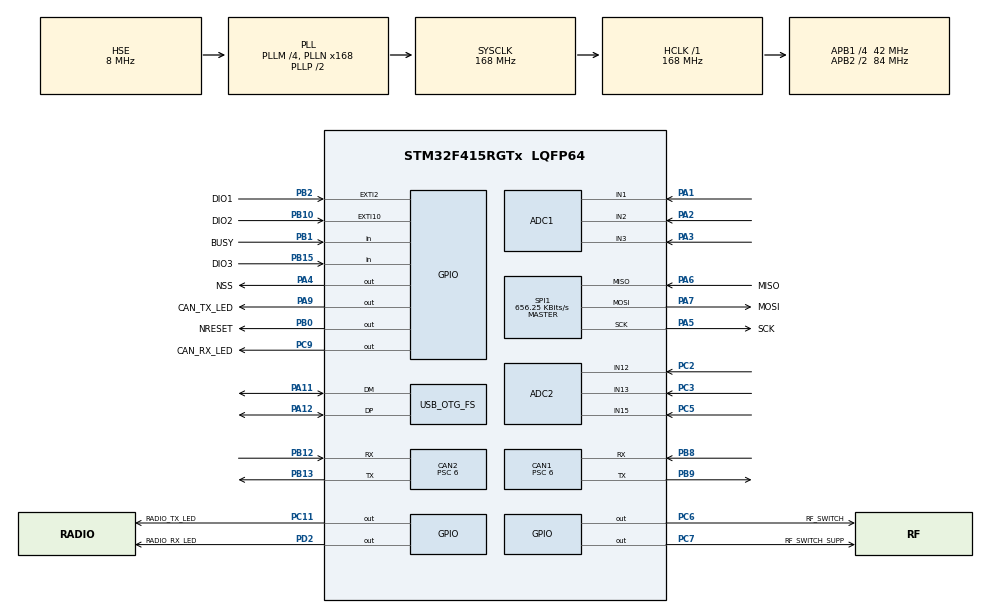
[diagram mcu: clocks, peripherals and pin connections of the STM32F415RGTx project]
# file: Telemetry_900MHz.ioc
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ADC1.Channel-0\#ChannelRegularConversion=ADC_CHANNEL_1
ADC1.Channel-1\#ChannelRegularConversion=ADC_CHANNEL_2
ADC1.Channel-2\#ChannelRegularConversion=ADC_CHANNEL_3
ADC1.ContinuousConvMode=ENABLE
ADC1.DMAContinuousRequests=ENABLE
ADC1.NbrOfConversion=3
ADC1.NbrOfConversionFlag=1
ADC1.Rank-0\#ChannelRegularConversion=1
ADC1.Rank-1\#ChannelRegularConversion=2
ADC1.Rank-2\#ChannelRegularConversion=3
ADC1.SamplingTime-0\#ChannelRegularConversion=ADC_SAMPLETIME_480CYCLES
ADC1.SamplingTime-1\#ChannelRegularConversion=ADC_SAMPLETIME_480CYCLES
ADC1.SamplingTime-2\#ChannelRegularConversion=ADC_SAMPLETIME_480CYCLES
ADC1.ScanConvMode=ENABLE
ADC1.master=1
ADC2.Channel-0\#ChannelRegularConversion=ADC_CHANNEL_12
ADC2.Channel-1\#ChannelRegularConversion=ADC_CHANNEL_13
ADC2.Channel-2\#ChannelRegularConversion=ADC_CHANNEL_15
ADC2.ContinuousConvMode=ENABLE
ADC2.DMAContinuousRequests=ENABLE
ADC2.NbrOfConversion=3
ADC2.NbrOfConversionFlag=1
ADC2.Rank-0\#ChannelRegularConversion=1
ADC2.Rank-1\#ChannelRegularConversion=2
ADC2.Rank-2\#ChannelRegularConversion=3
ADC2.SamplingTime-0\#ChannelRegularConversion=ADC_SAMPLETIME_480CYCLES
ADC2.SamplingTime-1\#ChannelRegularConversion=ADC_SAMPLETIME_480CYCLES
ADC2.SamplingTime-2\#ChannelRegularConversion=ADC_SAMPLETIME_480CYCLES
ADC2.ScanConvMode=ENABLE
CAN1.ABOM=ENABLE
CAN1.BS1=CAN_BS1_4TQ
CAN1.BS2=CAN_BS2_2TQ
CAN1.CalculateBaudRate=1000000
CAN1.CalculateTimeBit=1000
CAN1.CalculateTimeQuantum=142.85714285714286
CAN1.Mode=CAN_MODE_NORMAL
CAN1.NART=DISABLE
CAN1.Prescaler=6
CAN2.ABOM=ENABLE
CAN2.BS1=CAN_BS1_4TQ
CAN2.BS2=CAN_BS2_2TQ
CAN2.CalculateBaudRate=1000000
CAN2.CalculateTimeBit=1000
CAN2.CalculateTimeQuantum=142.85714285714286
CAN2.Prescaler=6
Dma.ADC1.0.Direction=DMA_PERIPH_TO_MEMORY
Dma.ADC1.0.FIFOMode=DMA_FIFOMODE_DISABLE
Dma.ADC1.0.Instance=DMA2_Stream0
Dma.ADC1.0.MemDataAlignment=DMA_MDATAALIGN_HALFWORD
Dma.ADC1.0.MemInc=DMA_MINC_ENABLE
Dma.ADC1.0.Mode=DMA_CIRCULAR
Dma.ADC1.0.PeriphDataAlignment=DMA_PDATAALIGN_HALFWORD
Dma.ADC1.0.PeriphInc=DMA_PINC_DISABLE
Dma.ADC1.0.Priority=DMA_PRIORITY_LOW
Dma.ADC2.1.Direction=DMA_PERIPH_TO_MEMORY
Dma.ADC2.1.FIFOMode=DMA_FIFOMODE_DISABLE
Dma.ADC2.1.Instance=DMA2_Stream2
Dma.ADC2.1.MemDataAlignment=DMA_MDATAALIGN_HALFWORD
Dma.ADC2.1.MemInc=DMA_MINC_ENABLE
Dma.ADC2.1.Mode=DMA_CIRCULAR
Dma.ADC2.1.PeriphDataAlignment=DMA_PDATAALIGN_HALFWORD
Dma.ADC2.1.PeriphInc=DMA_PINC_DISABLE
Dma.ADC2.1.Priority=DMA_PRIORITY_LOW
Dma.Request0=ADC1
Dma.Request1=ADC2
Mcu.Family=STM32F4
Mcu.Name=STM32F415RGTx
Mcu.Package=LQFP64
NVIC.CAN1_RX0_IRQn=true\:0\:0\:false\:false\:true\:true\:true\:true
NVIC.CAN2_RX1_IRQn=true\:0\:0\:false\:false\:true\:true\:true\:true
NVIC.DMA2_Stream0_IRQn=true\:0\:0\:false\:false\:true\:false\:true\:true
NVIC.DMA2_Stream2_IRQn=true\:0\:0\:false\:false\:true\:false\:true\:true
NVIC.EXTI15_10_IRQn=true\:0\:0\:false\:false\:true\:true\:true\:true
NVIC.EXTI2_IRQn=true\:0\:0\:false\:false\:true\:true\:true\:true
NVIC.OTG_FS_IRQn=true\:0\:0\:false\:false\:true\:true\:true\:true
NVIC.PriorityGroup=NVIC_PRIORITYGROUP_4
PA1.Signal=ADCx_IN1
PA11.Mode=Device_Only
PA11.Signal=USB_OTG_FS_DM
PA12.Mode=Device_Only
PA12.Signal=USB_OTG_FS_DP
PA13.Mode=Serial_Wire
PA13.Signal=SYS_JTMS-SWDIO
PA14.Mode=Serial_Wire
PA14.Signal=SYS_JTCK-SWCLK
PA2.Signal=ADCx_IN2
PA3.Signal=ADCx_IN3
PA4.GPIO_Label=NSS
PA4.Signal=GPIO_Output
PA5.GPIO_Label=SCK
PA5.Mode=Full_Duplex_Master
PA5.Signal=SPI1_SCK
PA6.GPIO_Label=MISO
PA6.Mode=Full_Duplex_Master
PA6.Signal=SPI1_MISO
PA7.GPIO_Label=MOSI
PA7.Mode=Full_Duplex_Master
PA7.Signal=SPI1_MOSI
PA9.GPIO_Label=CAN_TX_LED
PA9.Signal=GPIO_Output
PB0.GPIO_Label=NRESET
PB0.Signal=GPIO_Output
PB1.GPIO_Label=BUSY
PB1.Signal=GPIO_Input
PB10.GPIO_Label=DIO2
PB10.GPIO_ModeDefaultEXTI=GPIO_MODE_IT_RISING_FALLING
PB10.Signal=GPXTI10
PB12.Mode=CAN_Activate
PB12.Signal=CAN2_RX
PB13.Mode=CAN_Activate
PB13.Signal=CAN2_TX
PB15.GPIO_Label=DIO3
PB15.Signal=GPIO_Input
PB2.GPIO_Label=DIO1
PB2.Signal=GPXTI2
PB8.Mode=CAN_Activate
PB8.Signal=CAN1_RX
PB9.Mode=CAN_Activate
PB9.Signal=CAN1_TX
PC11.GPIO_Label=RADIO_TX_LED
PC11.Signal=GPIO_Output
PC2.Signal=ADCx_IN12
PC3.Signal=ADCx_IN13
PC5.Signal=ADCx_IN15
PC6.GPIO_Label=RF_SWITCH
PC6.Signal=GPIO_Output
PC7.GPIO_Label=RF_SWITCH_SUPP
PC7.Signal=GPIO_Output
PC9.GPIO_Label=CAN_RX_LED
PC9.Signal=GPIO_Output
PD2.GPIO_Label=RADIO_RX_LED
PD2.Signal=GPIO_Output
PH0-OSC_IN.Mode=HSE-External-Oscillator
PH0-OSC_IN.Signal=RCC_OSC_IN
PH1-OSC_OUT.Mode=HSE-External-Oscillator
PH1-OSC_OUT.Signal=RCC_OSC_OUT
ProjectManager.HeapSize=0x200
ProjectManager.StackSize=0x400
ProjectManager.TargetToolchain=STM32CubeIDE
RCC.48MHZClocksFreq_Value=48000000
RCC.AHBFreq_Value=168000000
RCC.APB1CLKDivider=RCC_HCLK_DIV4
RCC.APB1Freq_Value=42000000
RCC.APB1TimFreq_Value=84000000
RCC.APB2CLKDivider=RCC_HCLK_DIV2
RCC.APB2Freq_Value=84000000
RCC.APB2TimFreq_Value=168000000
RCC.CortexFreq_Value=168000000
RCC.HCLKFreq_Value=168000000
RCC.HSE_VALUE=8000000
RCC.HSI_VALUE=16000000
RCC.LSE_VALUE=32768
RCC.PLLM=4
RCC.PLLN=168
RCC.PLLQ=7
RCC.SYSCLKFreq_VALUE=168000000
RCC.SYSCLKSource=RCC_SYSCLKSOURCE_PLLCLK
RCC.VCOOutputFreq_Value=336000000
SH.ADCx_IN1.0=ADC1_IN1,IN1
SH.ADCx_IN12.0=ADC2_IN12,IN12
SH.ADCx_IN13.0=ADC2_IN13,IN13
SH.ADCx_IN15.0=ADC2_IN15,IN15
SH.ADCx_IN2.0=ADC1_IN2,IN2
SH.ADCx_IN3.0=ADC1_IN3,IN3
SPI1.BaudRatePrescaler=SPI_BAUDRATEPRESCALER_128
SPI1.CalculateBaudRate=656.25 KBits/s
SPI1.Direction=SPI_DIRECTION_2LINES
SPI1.Mode=SPI_MODE_MASTER
SPI1.VirtualType=VM_MASTER
USB_DEVICE.CLASS_NAME_FS=CDC
USB_DEVICE.VirtualMode-CDC_FS=Cdc
USB_DEVICE.VirtualModeFS=Cdc_FS
USB_OTG_FS.VirtualMode=Device_Only
VP_USB_DEVICE_VS_USB_DEVICE_CDC_FS.Mode=CDC_FS
board=custom

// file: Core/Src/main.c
/* USER CODE BEGIN Header */

/* USER CODE END Header */
#include "main.h"
#include "usb_device.h"

/* USER CODE BEGIN Includes */
#include <SX1262.h>
#include <TeleMsgs_USB.h>
#include <TPMS.h>
#include "stm32f4xx_hal_gpio.h"
/* USER CODE END Includes */

/* USER CODE BEGIN PTD */

#define ADC_SAMPLES 1000

/* USER CODE END PTD */

/* USER CODE BEGIN PM */
MCU   mcu;
Radio radio;
TelemetryData_t teleData;
/* USER CODE END PM */

ADC_HandleTypeDef hadc1;
ADC_HandleTypeDef hadc2;
DMA_HandleTypeDef hdma_adc1;
DMA_HandleTypeDef hdma_adc2;

CAN_HandleTypeDef hcan1;
CAN_HandleTypeDef hcan2;

SPI_HandleTypeDef hspi1;

/* USER CODE BEGIN PV */

/* --------- ADC Variables BEGIN ----------- */
volatile uint16_t adc1results[3];
volatile uint32_t adc1_ch1_sum = 0,   adc1_ch2_sum = 0,   adc1_ch3_sum = 0;
volatile float    adc1_ch1_value = 0, adc1_ch2_value = 0, adc1_ch3_value = 0;
volatile uint16_t adc1_conv_cplt = 0;

volatile uint16_t adc2results[3];
volatile uint32_t adc2_ch12_sum = 0,   adc2_ch13_sum = 0,   adc2_ch15_sum = 0;
volatile float    adc2_ch12_value = 0, adc2_ch13_value = 0, adc2_ch15_value = 0;
volatile uint16_t adc2_conv_cplt = 0;

float linear_roll, linear_heave;
uint32_t last_linear_can_tx;
uint16_t linear_can_tx_interval = 90;
uint8_t  aero_fans_can_counter = 0;
/* --------- ADC Variables END ----------- */

/* -------- TPMS variables BEGIN --------- */
int8_t	 cal_sleep_time = 0;
int8_t 	 cal_wait_time  = 0;
bool 	 tpms_msg_sent = true;
int64_t  tpms_msg_time = 0;
uint32_t tpms_interval = 500;
uint32_t wait_time;
bool     config = false;
int8_t   tpms_power = 5;
uint16_t tpms_freq = 900;
TPMS_samplingFreq_t tx_freq;

// TPMS window variables
uint32_t current_tick;
int      window_start = 0;
uint16_t window_width = 120;
int64_t  delay        = 0;
int64_t  width_start  = 0;
int64_t  width_end    = 0;
/* --------- TPMS variables END ---------- */

/* -- Telemetry timing Variables BEGIN -- */
uint32_t rx_tick;
uint32_t tx_tick;
uint16_t tx_msg_delay = 20;  // --> 15ms
/* --- Telemetry timing Variables END --- */

/* ----- Telemetry Parameters BEGIN ----- */
uint8_t  tx_msg_id = 1;
int8_t   prev_dbm  = 22;
int8_t   curr_dbm  = 22;
uint16_t prev_freq = 900;
uint16_t curr_freq = 900;
/* ------ Telemetry Parameters END ------ */

/* --------- CAN-bus Variables BEGIN ----------- */
CAN_TxHeaderTypeDef TxHeader1;
CAN_RxHeaderTypeDef RxHeader1;
uint8_t TxData1[8];
uint8_t RxData1[8];

CAN_TxHeaderTypeDef TxHeader2;
CAN_RxHeaderTypeDef RxHeader2;
uint8_t TxData2[8];
uint8_t RxData2[8];

uint32_t TxMailbox;

uint16_t can1_msgs_rx = 0;
uint16_t can2_msgs_rx = 0;
/* ---------- CAN-bus Variables END ------------ */

/* USER CODE END PV */

void SystemClock_Config(void);
static void MX_GPIO_Init(void);
static void MX_DMA_Init(void);
static void MX_SPI1_Init(void);
static void MX_CAN1_Init(void);
static void MX_CAN2_Init(void);
static void MX_ADC1_Init(void);
static void MX_ADC2_Init(void);
/* USER CODE BEGIN PFP */
HAL_StatusTypeDef CanTxTPMSmessage(TelemetryData_t* teleData);
/* USER CODE END PFP */

/* USER CODE BEGIN 0 */

void HAL_GPIO_EXTI_Callback(uint16_t GPIO_Pin)
{
	if (GPIO_Pin == mcu.dio2.pin)
	{
		SX1262dio2Interrupt(&mcu, &radio);
	}

	else if (GPIO_Pin == mcu.dio1.pin)
	{
		radio.msg_pending = true;
	}
}

/* USER CODE END 0 */

int main(void)
{

  /* MCU Configuration--------------------------------------------------------*/

  /* Reset of all peripherals, Initializes the Flash interface and the Systick. */
  HAL_Init();

  /* Configure the system clock */
  SystemClock_Config();

  /* Initialize all configured peripherals */
  MX_GPIO_Init();
  MX_DMA_Init();
  MX_SPI1_Init();
  MX_CAN1_Init();
  MX_CAN2_Init();
  MX_ADC1_Init();
  MX_ADC2_Init();
  MX_USB_DEVICE_Init();
  /* USER CODE BEGIN 2 */
  /* MCU Configuration--------------------------------------------------------*/
  MCU_init(&mcu, &hspi1, GPIOA, NSS_Pin, GPIOB, NRESET_Pin, GPIOB,
		   BUSY_Pin, GPIOB, DIO1_Pin, GPIOB, DIO2_Pin, GPIOB, DIO3_Pin,
		   GPIOC, RF_SWITCH_Pin, GPIOC, RF_SWITCH_SUPP_Pin,
		   GPIOC, RADIO_TX_LED_Pin, GPIOD, RADIO_RX_LED_Pin,
		   GPIOA, CAN_TX_LED_Pin, GPIOC, CAN_RX_LED_Pin);

  /* TPMS Initializations */
  init_packet_types();
  TpmsStructsInit();
  radio.per.first_reception = true;

  /* Infinite loop */
  /* USER CODE BEGIN WHILE */

  SX1262GfskInit(&mcu, &radio, prev_dbm, prev_freq);
  //SX1262LoRaInit(&mcu, &radio, 22, 900);

  rx_tick = HAL_GetTick();

  HAL_ADC_Start_DMA(&hadc1, (uint32_t*)adc1results, 3);
  HAL_ADC_Start_DMA(&hadc2, (uint32_t*)adc2results, 3);

#if (FUNCTION == STNDBY)
	  SX1262SetFunction(&mcu, &radio, TPMS);
	  SX1262SetRxDutyCycle(&mcu, &radio, 200, 200);
#endif

  while (1)
  {
	if (radio.opMode != SLEEP_MODE)
		SX1262GetStatus(&mcu, &radio);

#if (FUNCTION == TELEMETRY_RX)
	{
		if (radio.opMode != RX_MODE)
			SX1262SetRxBoosted(&mcu, &radio, 0xFFFF);

		if (radio.msg_pending)
		{
			radio.rx_interval = HAL_GetTick() - rx_tick;
			rx_tick = HAL_GetTick();    // Used to calculate rx_interval

			SX1262dio1Interrupt(&mcu, &radio);
			SX1262GetStatus(&mcu, &radio);
			SX1262CalculatePacketLoss(&radio);
			SX1262ClearIrqStatus(&mcu, &radio, 0xFFFF);

			// Reset
			SX1262SetStandby(&mcu, &radio, STDBY_XOSC);
			SX1262SetRxBoosted(&mcu, &radio, 0xFFFF);

			process_rx_packet(&radio, &teleData);
			Transmit_USB(&radio, &teleData, radio.rx_msg[0]);

			radio.tele_rx_time = HAL_GetTick() - rx_tick;
			radio.msg_pending = false;
		}
	}
#endif

#if (FUNCTION == TELEMETRY_TX)

	if (HAL_GetTick() - tx_tick > tx_msg_delay)
	{
		radio.tx_interval = HAL_GetTick() - tx_tick;
		tx_tick = HAL_GetTick();

		CreateTeleTxMsg(&radio, tx_msg_id, &teleData);
		tx_msg_id++;
		if (tx_msg_id > PACKETS_NUM)
			tx_msg_id = 1;

		SX1262SendPayload(&mcu, &radio, radio.tx_msg, radio.packetParams.Params.Gfsk.PayloadLength - 2, 20, true);

		radio.tele_tx_time = HAL_GetTick() - tx_tick;
	}

	SX1262GetStatus(&mcu, &radio);
#endif

#if (FUNCTION == TELEMETRY_TPMS)
		if (tpms_msg_sent)  // TPMS sent message and a new time has to be decided
		{
			tpms_msg_time = HAL_GetTick() + tpms_interval;
			tpms_msg_sent = false;
		}

		if (HAL_GetTick() - tx_tick > tx_msg_delay)
		{
			radio.tx_interval = HAL_GetTick() - tx_tick;
			tx_tick = HAL_GetTick();

			/* TPMS Tx Message */
			SX1262SetFunction(&mcu, &radio, TPMS);

			if (config)
				SX1262CreateTpmsCfgrMsg(&radio, tpms_power, tpms_freq);
			else
			{
				wait_time = tpms_msg_time - HAL_GetTick() - 130; // -40
				switch (tpms_interval)
				{
				case (500):     /* 0.5s */
					 tx_freq = SAMPLE_0_5;
					 break;

				case (1000):     /* 1.0s */
					 tx_freq = SAMPLE_1_0;
					 break;

				case (3000):    /* 3.0s */
		             tx_freq = SAMPLE_3_0;
					 break;

				default:
					 break;
				}
				SX1262CreateTpmsRequestMsg(&radio, wait_time, tx_freq, cal_sleep_time, cal_wait_time);
			}

			SX1262SendPayload(&mcu, &radio, radio.tpms_tx_msg, radio.packetParams.Params.Gfsk.PayloadLength - 1, 5, true);
			radio.tpms_tx_time = HAL_GetTick() - tx_tick;

			/* Telemery Tx Message */
			tx_tick = HAL_GetTick();
			SX1262SetFunction(&mcu, &radio, TELEMETRY);

			CreateTeleTxMsg(&radio, tx_msg_id, &teleData);
			tx_msg_id++;
			if (tx_msg_id > PACKETS_NUM)
				tx_msg_id = 1;

			SX1262SendPayload(&mcu, &radio, radio.tx_msg, radio.packetParams.Params.Gfsk.PayloadLength - 2, 50, false);
			radio.tele_tx_time = HAL_GetTick() - tx_tick;
		}

		delay = (int64_t)(HAL_GetTick()) - tpms_msg_time;
		if (delay > window_start)  // 15 NORMALLY
		{
			radio.msg_pending = false;

			tpms_fr.not_received++;
			tpms_fl.not_received++;
			tpms_rr.not_received++;
			tpms_rl.not_received++;

			SX1262SetFunction(&mcu, &radio, TPMS);

//			tpms_msg_time = HAL_GetTick() + tpms_interval;

			SX1262SetRxBoosted(&mcu, &radio, 0xFFFF);
			tpms_msg_sent = true;
			current_tick = HAL_GetTick();
			width_start = HAL_GetTick() - tpms_msg_time;
			while (HAL_GetTick() - current_tick < window_width) // wait to get TPMS messages // 100 NORMALLY
			{
 				if (radio.msg_pending)
				{
 					radio.msg_pending = false;

					SX1262dio1Interrupt(&mcu, &radio);
					SX1262GetStatus(&mcu, &radio);
					SX1262ClearIrqStatus(&mcu, &radio, 0xFFFF);

					radio.tpms_variation = HAL_GetTick() - tpms_msg_time;

					TpmsGetMessage(&radio, &teleData);

					// Reset
					SX1262SetStandby(&mcu, &radio, STDBY_XOSC);
					SX1262SetRxBoosted(&mcu, &radio, 0xFFFF);
				}
			}
			width_end = HAL_GetTick() - tpms_msg_time;
			SX1262SetStandby(&mcu, &radio, STDBY_XOSC);

			CanTxTPMSmessage(&teleData);
		}
#endif

#if (FUNCTION == STANDBY)

		SX1262SetStandby(&mcu, &radio, STDBY_XOSC);
		//SX1262SetRxDutyCycle(&mcu, &radio, 200, 200);
		//SX1262GetStatus(&mcu, &radio);
#endif

	if ((prev_freq != curr_freq) || (prev_dbm != curr_dbm))
	{
		SX1262GfskInit(&mcu, &radio, curr_dbm, curr_freq);
		prev_freq = curr_freq;
		prev_dbm = curr_dbm;
	}

	if (HAL_GetTick() - last_linear_can_tx > linear_can_tx_interval)
	{
		last_linear_can_tx = HAL_GetTick();
		/* Sensory CAN BUS */
		TxHeader2.DLC = 4;
		TxHeader2.IDE = CAN_ID_STD;
		TxHeader2.RTR = CAN_RTR_DATA;
		TxHeader2.StdId = 0x4D2;
		TxHeader2.TransmitGlobalTime = DISABLE;
		TxData2[0] = (uint8_t)(linear_roll);
		TxData2[1] = (uint8_t)((linear_roll - TxData2[0]) * 100);
		TxData2[2] = (uint8_t)(linear_heave);
		TxData2[3] = (uint8_t)((linear_heave - TxData2[2]) * 100);
		HAL_CAN_AddTxMessage(&hcan2, &TxHeader2, TxData2, &TxMailbox);

		aero_fans_can_counter++;
		if (aero_fans_can_counter > 9)  // ~1s
		{
			TxHeader2.DLC = 1;
			TxHeader2.IDE = CAN_ID_STD;
			TxHeader2.RTR = CAN_RTR_DATA;
			TxHeader2.StdId = 0x313;
			TxHeader2.TransmitGlobalTime = DISABLE;

			/* Ensures that vicor which supplies the aero fans is not overtemp */
			TxData2[0] = teleData.dash.aero_fans_on && (!teleData.accu.vicor_overtemp);
			HAL_CAN_AddTxMessage(&hcan2, &TxHeader2, TxData2, &TxMailbox);

			aero_fans_can_counter = 0;
		}

	}

    /* USER CODE END WHILE */

  }
}

void SystemClock_Config(void)
{
  RCC_OscInitTypeDef RCC_OscInitStruct = {0};
  RCC_ClkInitTypeDef RCC_ClkInitStruct = {0};

  /** Configure the main internal regulator output voltage
  */
  __HAL_RCC_PWR_CLK_ENABLE();
  __HAL_PWR_VOLTAGESCALING_CONFIG(PWR_REGULATOR_VOLTAGE_SCALE1);

  /** Initializes the RCC Oscillators according to the specified parameters
  * in the RCC_OscInitTypeDef structure.
  */
  RCC_OscInitStruct.OscillatorType = RCC_OSCILLATORTYPE_HSE;
  RCC_OscInitStruct.HSEState = RCC_HSE_ON;
  RCC_OscInitStruct.PLL.PLLState = RCC_PLL_ON;
  RCC_OscInitStruct.PLL.PLLSource = RCC_PLLSOURCE_HSE;
  RCC_OscInitStruct.PLL.PLLM = 4;
  RCC_OscInitStruct.PLL.PLLN = 168;
  RCC_OscInitStruct.PLL.PLLP = RCC_PLLP_DIV2;
  RCC_OscInitStruct.PLL.PLLQ = 7;
  if (HAL_RCC_OscConfig(&RCC_OscInitStruct) != HAL_OK)
  {
    Error_Handler();
  }

  /** Initializes the CPU, AHB and APB buses clocks
  */
  RCC_ClkInitStruct.ClockType = RCC_CLOCKTYPE_HCLK|RCC_CLOCKTYPE_SYSCLK
                              |RCC_CLOCKTYPE_PCLK1|RCC_CLOCKTYPE_PCLK2;
  RCC_ClkInitStruct.SYSCLKSource = RCC_SYSCLKSOURCE_PLLCLK;
  RCC_ClkInitStruct.AHBCLKDivider = RCC_SYSCLK_DIV1;
  RCC_ClkInitStruct.APB1CLKDivider = RCC_HCLK_DIV4;
  RCC_ClkInitStruct.APB2CLKDivider = RCC_HCLK_DIV2;

  if (HAL_RCC_ClockConfig(&RCC_ClkInitStruct, FLASH_LATENCY_5) != HAL_OK)
  {
    Error_Handler();
  }
}

static void MX_ADC1_Init(void)
{

  ADC_ChannelConfTypeDef sConfig = {0};

  /** Configure the global features of the ADC (Clock, Resolution, Data Alignment and number of conversion)
  */
  hadc1.Instance = ADC1;
  hadc1.Init.ClockPrescaler = ADC_CLOCK_SYNC_PCLK_DIV4;
  hadc1.Init.Resolution = ADC_RESOLUTION_12B;
  hadc1.Init.ScanConvMode = ENABLE;
  hadc1.Init.ContinuousConvMode = ENABLE;
  hadc1.Init.DiscontinuousConvMode = DISABLE;
  hadc1.Init.ExternalTrigConvEdge = ADC_EXTERNALTRIGCONVEDGE_NONE;
  hadc1.Init.ExternalTrigConv = ADC_SOFTWARE_START;
  hadc1.Init.DataAlign = ADC_DATAALIGN_RIGHT;
  hadc1.Init.NbrOfConversion = 3;
  hadc1.Init.DMAContinuousRequests = ENABLE;
  hadc1.Init.EOCSelection = ADC_EOC_SINGLE_CONV;
  if (HAL_ADC_Init(&hadc1) != HAL_OK)
  {
    Error_Handler();
  }

  /** Configure for the selected ADC regular channel its corresponding rank in the sequencer and its sample time.
  */
  sConfig.Channel = ADC_CHANNEL_1;
  sConfig.Rank = 1;
  sConfig.SamplingTime = ADC_SAMPLETIME_480CYCLES;
  if (HAL_ADC_ConfigChannel(&hadc1, &sConfig) != HAL_OK)
  {
    Error_Handler();
  }

  /** Configure for the selected ADC regular channel its corresponding rank in the sequencer and its sample time.
  */
  sConfig.Channel = ADC_CHANNEL_2;
  sConfig.Rank = 2;
  if (HAL_ADC_ConfigChannel(&hadc1, &sConfig) != HAL_OK)
  {
    Error_Handler();
  }

  /** Configure for the selected ADC regular channel its corresponding rank in the sequencer and its sample time.
  */
  sConfig.Channel = ADC_CHANNEL_3;
  sConfig.Rank = 3;
  if (HAL_ADC_ConfigChannel(&hadc1, &sConfig) != HAL_OK)
  {
    Error_Handler();
  }

}

static void MX_ADC2_Init(void)
{

  ADC_ChannelConfTypeDef sConfig = {0};

  /** Configure the global features of the ADC (Clock, Resolution, Data Alignment and number of conversion)
  */
  hadc2.Instance = ADC2;
  hadc2.Init.ClockPrescaler = ADC_CLOCK_SYNC_PCLK_DIV4;
  hadc2.Init.Resolution = ADC_RESOLUTION_12B;
  hadc2.Init.ScanConvMode = ENABLE;
  hadc2.Init.ContinuousConvMode = ENABLE;
  hadc2.Init.DiscontinuousConvMode = DISABLE;
  hadc2.Init.ExternalTrigConvEdge = ADC_EXTERNALTRIGCONVEDGE_NONE;
  hadc2.Init.ExternalTrigConv = ADC_SOFTWARE_START;
  hadc2.Init.DataAlign = ADC_DATAALIGN_RIGHT;
  hadc2.Init.NbrOfConversion = 3;
  hadc2.Init.DMAContinuousRequests = ENABLE;
  hadc2.Init.EOCSelection = ADC_EOC_SINGLE_CONV;
  if (HAL_ADC_Init(&hadc2) != HAL_OK)
  {
    Error_Handler();
  }

  /** Configure for the selected ADC regular channel its corresponding rank in the sequencer and its sample time.
  */
  sConfig.Channel = ADC_CHANNEL_12;
  sConfig.Rank = 1;
  sConfig.SamplingTime = ADC_SAMPLETIME_480CYCLES;
  if (HAL_ADC_ConfigChannel(&hadc2, &sConfig) != HAL_OK)
  {
    Error_Handler();
  }

  /** Configure for the selected ADC regular channel its corresponding rank in the sequencer and its sample time.
  */
  sConfig.Channel = ADC_CHANNEL_13;
  sConfig.Rank = 2;
  if (HAL_ADC_ConfigChannel(&hadc2, &sConfig) != HAL_OK)
  {
    Error_Handler();
  }

  /** Configure for the selected ADC regular channel its corresponding rank in the sequencer and its sample time.
  */
  sConfig.Channel = ADC_CHANNEL_15;
  sConfig.Rank = 3;
  if (HAL_ADC_ConfigChannel(&hadc2, &sConfig) != HAL_OK)
  {
    Error_Handler();
  }

}

static void MX_CAN1_Init(void)
{

  hcan1.Instance = CAN1;
  hcan1.Init.Prescaler = 6;
  hcan1.Init.Mode = CAN_MODE_NORMAL;
  hcan1.Init.SyncJumpWidth = CAN_SJW_1TQ;
  hcan1.Init.TimeSeg1 = CAN_BS1_4TQ;
  hcan1.Init.TimeSeg2 = CAN_BS2_2TQ;
  hcan1.Init.TimeTriggeredMode = DISABLE;
  hcan1.Init.AutoBusOff = ENABLE;
  hcan1.Init.AutoWakeUp = DISABLE;
  hcan1.Init.AutoRetransmission = DISABLE;
  hcan1.Init.ReceiveFifoLocked = DISABLE;
  hcan1.Init.TransmitFifoPriority = DISABLE;
  if (HAL_CAN_Init(&hcan1) != HAL_OK)
  {
    Error_Handler();
  }
  /* USER CODE BEGIN CAN1_Init 2 */

  CAN_FilterTypeDef FilterConfig0;
  FilterConfig0.FilterIdHigh = 0;
  FilterConfig0.FilterIdLow = 0;
  FilterConfig0.FilterMaskIdHigh = 0;
  FilterConfig0.FilterMaskIdLow = 0;
  FilterConfig0.FilterFIFOAssignment = CAN_FILTER_FIFO0;
  FilterConfig0.FilterBank = 0;
  FilterConfig0.SlaveStartFilterBank = 14;
  FilterConfig0.FilterMode = CAN_FILTERMODE_IDMASK;
  FilterConfig0.FilterScale = CAN_FILTERSCALE_32BIT;
  FilterConfig0.FilterActivation = ENABLE;

  if(HAL_CAN_ConfigFilter(&hcan1, &FilterConfig0)!=HAL_OK) {
	  Error_Handler();
  }
  if(HAL_CAN_Start(&hcan1)!=HAL_OK) {
	  Error_Handler();
  }
  if (HAL_CAN_ActivateNotification(&hcan1, CAN_IT_RX_FIFO0_MSG_PENDING) != HAL_OK)
  {
	  Error_Handler();
  }

  /* USER CODE END CAN1_Init 2 */

}

static void MX_CAN2_Init(void)
{

  hcan2.Instance = CAN2;
  hcan2.Init.Prescaler = 6;
  hcan2.Init.Mode = CAN_MODE_NORMAL;
  hcan2.Init.SyncJumpWidth = CAN_SJW_1TQ;
  hcan2.Init.TimeSeg1 = CAN_BS1_4TQ;
  hcan2.Init.TimeSeg2 = CAN_BS2_2TQ;
  hcan2.Init.TimeTriggeredMode = DISABLE;
  hcan2.Init.AutoBusOff = ENABLE;
  hcan2.Init.AutoWakeUp = DISABLE;
  hcan2.Init.AutoRetransmission = DISABLE;
  hcan2.Init.ReceiveFifoLocked = DISABLE;
  hcan2.Init.TransmitFifoPriority = DISABLE;
  if (HAL_CAN_Init(&hcan2) != HAL_OK)
  {
    Error_Handler();
  }
  /* USER CODE BEGIN CAN2_Init 2 */
  CAN_FilterTypeDef FilterConfig1;
  FilterConfig1.FilterIdHigh = 0;
  FilterConfig1.FilterIdLow = 0;
  FilterConfig1.FilterMaskIdHigh = 0;
  FilterConfig1.FilterMaskIdLow = 0;
  FilterConfig1.FilterFIFOAssignment = CAN_FILTER_FIFO1;
  FilterConfig1.FilterBank = 14;
  FilterConfig1.SlaveStartFilterBank = 14;
  FilterConfig1.FilterMode = CAN_FILTERMODE_IDMASK;
  FilterConfig1.FilterScale = CAN_FILTERSCALE_32BIT;
  FilterConfig1.FilterActivation = ENABLE;
  if(HAL_CAN_ConfigFilter(&hcan2, &FilterConfig1)!=HAL_OK) {
	  Error_Handler();
  }
  if(HAL_CAN_Start(&hcan2)!=HAL_OK) {
	  Error_Handler();
  }
  if (HAL_CAN_ActivateNotification(&hcan2, CAN_IT_RX_FIFO1_MSG_PENDING) != HAL_OK)
  {
	  Error_Handler();
  }
  /* USER CODE END CAN2_Init 2 */

}

static void MX_SPI1_Init(void)
{

  /* SPI1 parameter configuration*/
  hspi1.Instance = SPI1;
  hspi1.Init.Mode = SPI_MODE_MASTER;
  hspi1.Init.Direction = SPI_DIRECTION_2LINES;
  hspi1.Init.DataSize = SPI_DATASIZE_8BIT;
  hspi1.Init.CLKPolarity = SPI_POLARITY_LOW;
  hspi1.Init.CLKPhase = SPI_PHASE_1EDGE;
  hspi1.Init.NSS = SPI_NSS_SOFT;
  hspi1.Init.BaudRatePrescaler = SPI_BAUDRATEPRESCALER_128;
  hspi1.Init.FirstBit = SPI_FIRSTBIT_MSB;
  hspi1.Init.TIMode = SPI_TIMODE_DISABLE;
  hspi1.Init.CRCCalculation = SPI_CRCCALCULATION_DISABLE;
  hspi1.Init.CRCPolynomial = 10;
  if (HAL_SPI_Init(&hspi1) != HAL_OK)
  {
    Error_Handler();
  }

}

static void MX_DMA_Init(void)
{

  /* DMA controller clock enable */
  __HAL_RCC_DMA2_CLK_ENABLE();

  /* DMA interrupt init */
  /* DMA2_Stream0_IRQn interrupt configuration */
  HAL_NVIC_SetPriority(DMA2_Stream0_IRQn, 0, 0);
  HAL_NVIC_EnableIRQ(DMA2_Stream0_IRQn);
  /* DMA2_Stream2_IRQn interrupt configuration */
  HAL_NVIC_SetPriority(DMA2_Stream2_IRQn, 0, 0);
  HAL_NVIC_EnableIRQ(DMA2_Stream2_IRQn);

}

static void MX_GPIO_Init(void)
{
  GPIO_InitTypeDef GPIO_InitStruct = {0};

  /* GPIO Ports Clock Enable */
  __HAL_RCC_GPIOH_CLK_ENABLE();
  __HAL_RCC_GPIOC_CLK_ENABLE();
  __HAL_RCC_GPIOA_CLK_ENABLE();
  __HAL_RCC_GPIOB_CLK_ENABLE();
  __HAL_RCC_GPIOD_CLK_ENABLE();

  /*Configure GPIO pin Output Level */
  HAL_GPIO_WritePin(GPIOA, NSS_Pin|CAN_TX_LED_Pin, GPIO_PIN_RESET);

  /*Configure GPIO pin Output Level */
  HAL_GPIO_WritePin(NRESET_GPIO_Port, NRESET_Pin, GPIO_PIN_RESET);

  /*Configure GPIO pin Output Level */
  HAL_GPIO_WritePin(GPIOC, RF_SWITCH_Pin|RF_SWITCH_SUPP_Pin|CAN_RX_LED_Pin|RADIO_TX_LED_Pin, GPIO_PIN_RESET);

  /*Configure GPIO pin Output Level */
  HAL_GPIO_WritePin(RADIO_RX_LED_GPIO_Port, RADIO_RX_LED_Pin, GPIO_PIN_RESET);

  /*Configure GPIO pins : NSS_Pin CAN_TX_LED_Pin */
  GPIO_InitStruct.Pin = NSS_Pin|CAN_TX_LED_Pin;
  GPIO_InitStruct.Mode = GPIO_MODE_OUTPUT_PP;
  GPIO_InitStruct.Pull = GPIO_NOPULL;
  GPIO_InitStruct.Speed = GPIO_SPEED_FREQ_LOW;
  HAL_GPIO_Init(GPIOA, &GPIO_InitStruct);

  /*Configure GPIO pin : NRESET_Pin */
  GPIO_InitStruct.Pin = NRESET_Pin;
  GPIO_InitStruct.Mode = GPIO_MODE_OUTPUT_PP;
  GPIO_InitStruct.Pull = GPIO_NOPULL;
  GPIO_InitStruct.Speed = GPIO_SPEED_FREQ_LOW;
  HAL_GPIO_Init(NRESET_GPIO_Port, &GPIO_InitStruct);

  /*Configure GPIO pins : BUSY_Pin DIO3_Pin */
  GPIO_InitStruct.Pin = BUSY_Pin|DIO3_Pin;
  GPIO_InitStruct.Mode = GPIO_MODE_INPUT;
  GPIO_InitStruct.Pull = GPIO_NOPULL;
  HAL_GPIO_Init(GPIOB, &GPIO_InitStruct);

  /*Configure GPIO pin : DIO1_Pin */
  GPIO_InitStruct.Pin = DIO1_Pin;
  GPIO_InitStruct.Mode = GPIO_MODE_IT_RISING;
  GPIO_InitStruct.Pull = GPIO_NOPULL;
  HAL_GPIO_Init(DIO1_GPIO_Port, &GPIO_InitStruct);

  /*Configure GPIO pin : DIO2_Pin */
  GPIO_InitStruct.Pin = DIO2_Pin;
  GPIO_InitStruct.Mode = GPIO_MODE_IT_RISING_FALLING;
  GPIO_InitStruct.Pull = GPIO_NOPULL;
  HAL_GPIO_Init(DIO2_GPIO_Port, &GPIO_InitStruct);

  /*Configure GPIO pins : RF_SWITCH_Pin RF_SWITCH_SUPP_Pin CAN_RX_LED_Pin RADIO_TX_LED_Pin */
  GPIO_InitStruct.Pin = RF_SWITCH_Pin|RF_SWITCH_SUPP_Pin|CAN_RX_LED_Pin|RADIO_TX_LED_Pin;
  GPIO_InitStruct.Mode = GPIO_MODE_OUTPUT_PP;
  GPIO_InitStruct.Pull = GPIO_NOPULL;
  GPIO_InitStruct.Speed = GPIO_SPEED_FREQ_LOW;
  HAL_GPIO_Init(GPIOC, &GPIO_InitStruct);

  /*Configure GPIO pin : RADIO_RX_LED_Pin */
  GPIO_InitStruct.Pin = RADIO_RX_LED_Pin;
  GPIO_InitStruct.Mode = GPIO_MODE_OUTPUT_PP;
  GPIO_InitStruct.Pull = GPIO_NOPULL;
  GPIO_InitStruct.Speed = GPIO_SPEED_FREQ_LOW;
  HAL_GPIO_Init(RADIO_RX_LED_GPIO_Port, &GPIO_InitStruct);

  /* EXTI interrupt init*/
  HAL_NVIC_SetPriority(EXTI2_IRQn, 0, 0);
  HAL_NVIC_EnableIRQ(EXTI2_IRQn);

  HAL_NVIC_SetPriority(EXTI15_10_IRQn, 0, 0);
  HAL_NVIC_EnableIRQ(EXTI15_10_IRQn);

}

/* USER CODE BEGIN 4 */

/* Primary CAN */
void HAL_CAN_RxFifo0MsgPendingCallback(CAN_HandleTypeDef *hcan)
{
	if (hcan == &hcan1)
	{
		HAL_GPIO_WritePin(mcu.can_rx_led.type, mcu.can_rx_led.pin, GPIO_PIN_SET);

		HAL_CAN_GetRxMessage(&hcan1, CAN_RX_FIFO0, &RxHeader1, RxData1);
		can1_msgs_rx++;
		process_can1_rx_msg(&teleData, RxHeader1.StdId, RxData1);

		HAL_GPIO_WritePin(mcu.can_rx_led.type, mcu.can_rx_led.pin, GPIO_PIN_RESET);
	}
}

/* Sensory CAN */
void HAL_CAN_RxFifo1MsgPendingCallback(CAN_HandleTypeDef *hcan)
{
	if (hcan == &hcan2)
	{
		HAL_GPIO_WritePin(mcu.can_rx_led.type, mcu.can_rx_led.pin, GPIO_PIN_SET);

		HAL_CAN_GetRxMessage(&hcan2, CAN_RX_FIFO1, &RxHeader2, RxData2);
		can2_msgs_rx++;
		process_can2_rx_msg(&teleData, RxHeader2.StdId, RxData2);

		HAL_GPIO_WritePin(mcu.can_rx_led.type, mcu.can_rx_led.pin, GPIO_PIN_RESET);
	}
}

void HAL_ADC_ConvCpltCallback(ADC_HandleTypeDef* hadc)
{
	if (hadc == &hadc1)
	{
		adc1_conv_cplt++;

		if (adc1_conv_cplt < ADC_SAMPLES)
		{
			adc1_ch1_sum += adc1results[0];
			adc1_ch2_sum += adc1results[1];
			adc1_ch3_sum += adc1results[2];
		}
		else
		{
			adc1_conv_cplt = 0;

			adc1_ch1_value = (float)(adc1_ch1_sum) / ADC_SAMPLES;
			adc1_ch2_value = (float)(adc1_ch2_sum) / ADC_SAMPLES;
			adc1_ch3_value = (float)(adc1_ch3_sum) / ADC_SAMPLES;

			linear_roll  = 74.8 - 75.0 * (adc1_ch1_value / 4096);

			adc1_ch1_sum = 0;
			adc1_ch2_sum = 0;
			adc1_ch3_sum = 0;
		}
	}

	else if (hadc == &hadc2)
	{
		adc2_conv_cplt++;

		if (adc2_conv_cplt < ADC_SAMPLES)
		{
			adc2_ch12_sum += adc2results[0];
			adc2_ch13_sum += adc2results[1];
			adc2_ch15_sum += adc2results[2];
		}
		else
		{
			adc2_conv_cplt = 0;

			adc2_ch12_value = (float)(adc2_ch12_sum) / ADC_SAMPLES;
			adc2_ch13_value = (float)(adc2_ch13_sum) / ADC_SAMPLES;
			adc2_ch15_value = (float)(adc2_ch15_sum) / ADC_SAMPLES;

			linear_heave = 74.8 - 75.0 * (adc2_ch15_value / 4096);

			adc2_ch12_sum = 0;
			adc2_ch13_sum = 0;
			adc2_ch15_sum = 0;
		}
	}
}

HAL_StatusTypeDef CanTxTPMSmessage(TelemetryData_t* teleData)
{
	HAL_StatusTypeDef result;

	TxHeader2.DLC = 8;
	TxHeader2.IDE = CAN_ID_STD;
	TxHeader2.RTR = CAN_RTR_DATA;
	TxHeader2.StdId = 0x4F2;
	TxHeader2.TransmitGlobalTime = DISABLE;
	TxData2[0] = teleData->tpms.fr_press >> 8;    /* Gives a resolution of 1mBar */
	TxData2[1] = teleData->tpms.fr_press;
	TxData2[2] = teleData->tpms.fl_press >> 8;
	TxData2[3] = teleData->tpms.fl_press;
	TxData2[4] = teleData->tpms.rr_press >> 8;
	TxData2[5] = teleData->tpms.rr_press;
	TxData2[6] = teleData->tpms.rl_press >> 8;
	TxData2[7] = teleData->tpms.rl_press;
	result = HAL_CAN_AddTxMessage(&hcan2, &TxHeader2, TxData2, &TxMailbox);
	if (result != HAL_OK)
		return result;

	TxHeader2.DLC = 8;
	TxHeader2.IDE = CAN_ID_STD;
	TxHeader2.RTR = CAN_RTR_DATA;
	TxHeader2.StdId = 0x4F3;
	TxHeader2.TransmitGlobalTime = DISABLE;
	TxData2[0] = teleData->tpms.fr_temp >> 8;
	TxData2[1] = teleData->tpms.fr_temp;
	TxData2[2] = teleData->tpms.fl_temp >> 8;
	TxData2[3] = teleData->tpms.fl_temp;
	TxData2[4] = teleData->tpms.rr_temp >> 8;
	TxData2[5] = teleData->tpms.rr_temp;
	TxData2[6] = teleData->tpms.rl_temp >> 8;
	TxData2[7] = teleData->tpms.rl_temp;
	result = HAL_CAN_AddTxMessage(&hcan2, &TxHeader2, TxData2, &TxMailbox);

	return result;
}

/* USER CODE END 4 */

void Error_Handler(void)
{
  __disable_irq();
  while (1)
  {
  }
}
